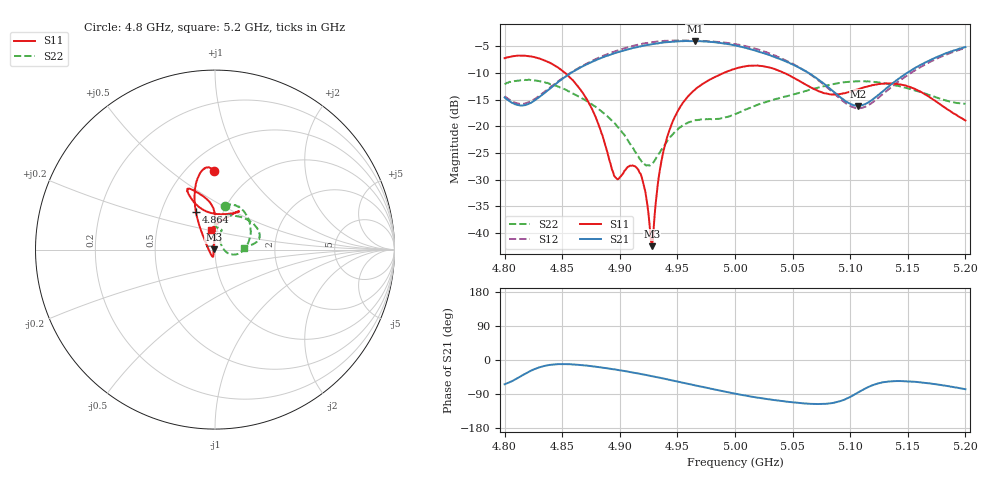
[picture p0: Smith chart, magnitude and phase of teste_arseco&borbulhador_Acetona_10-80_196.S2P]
! Network Analyzer HP8722D
! Hewlett-Packard
! Data name: Linha & Wilkinson
! Saver's name: Rodrigo Anjos
! Comments: Teste da utilização de aquisição
! continua pelo VNA HP8722D
! Time and date: 25/4/2025 16:54
!  Frequency  S11  S21  S12  S22
# HZ  S  MA R 50
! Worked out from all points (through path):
!   401 points, 4.8 GHz to 5.2 GHz, reference 50 ohm
!   highest |S21| = -3.99 dB at 4.965 GHz (marker M1); lowest = -16.2 dB at 5.107 GHz (marker M2)
!   lowest |S11| = -42.5 dB at 4.928 GHz (marker M3), VSWR 1.02, Z = 49.3 + j0.0876 ohm
!   |S11| at or under -10 dB: 4.853 GHz to 4.99 GHz (137.7 MHz wide, 2.8 % of centre); 5.043 GHz to end of sweep
!   |S22| runs from -27.4 to -11.2 dB; largest |S21 - S12| = 1.2
!   S11 on the Smith chart (normalised r, x): 4.8 GHz: 0.67, +0.72; 4.864 GHz: 0.75, +0.33; 5.2 GHz: 0.94, +0.21
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4.8e9  0.4357 91.1  0.1862 -64.1  0.1913 69.4  0.2481 77.4
4.82e9  0.4552 97.2  0.1607 -32.8  0.1663 98.1  0.2718 61.9
4.844e9  0.3685 107.2  0.248 -11.7  0.2518 119.2  0.2406 35.7
4.864e9  0.2348 116.9  0.3472 -12.7  0.3507 121.2  0.1907 12.5
4.867e9  0.2116 118.6  0.3616 -13.7  0.3655 120.8  0.1833 9.3
4.88e9  0.1147 128.5  0.4206 -18.1  0.4307 118.5  0.1492 -4.7
4.896e9  0.03331 -170.2  0.4863 -25.1  0.5049 113.5  0.1056 -15.3
4.91e9  0.04245 -108.0  0.537 -32.3  0.5621 107.3  0.06548 -13.2
4.917e9  0.03687 -105.2  0.5597 -36.2  0.5872 103.8  0.04974 -0.5
4.921e9  0.02734 -108.7  0.5719 -38.4  0.5991 101.6  0.0448 11.7
4.928e9  0.007485 173.2  0.5885 -42.9  0.6157 97.3  0.04464 40.2
4.934e9  0.03436 100.0  0.6028 -46.5  0.6271 93.5  0.05541 57.0
4.939e9  0.06495 93.3  0.6133 -49.6  0.6344 90.3  0.06703 64.8
4.946e9  0.1113 90.3  0.6219 -54.2  0.6366 85.9  0.08417 69.6
4.965e9  0.2191 91.4  0.6318 -66.7  0.6351 73.7  0.1138 71.0
5e9  0.3466 109.3  0.5742 -89.0  0.5921 51.0  0.1299 87.9
5.03e9  0.356 115.4  0.4646 -103.9  0.4822 34.0  0.1727 85.5
5.067e9  0.2282 105.8  0.3018 -115.9  0.2988 23.6  0.2219 57.2
5.107e9  0.2228 64.9  0.1551 -85.5  0.1475 57.5  0.2644 24.3
5.134e9  0.2523 58.0  0.2396 -56.7  0.2248 88.7  0.2483 12.5
5.169e9  0.1872 70.7  0.4159 -61.7  0.4 85.0  0.1956 7.0
5.2e9  0.1134 100.6  0.5536 -77.1  0.5425 70.4  0.1622 3.9
